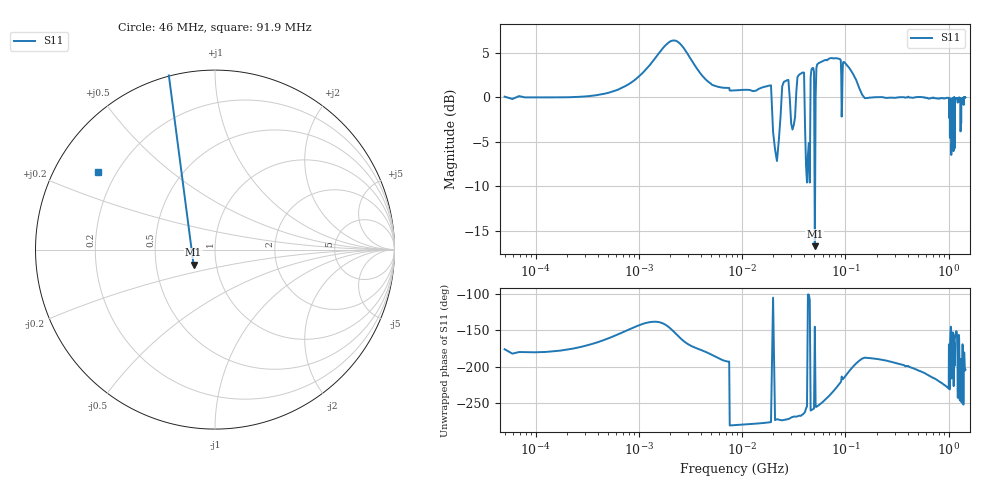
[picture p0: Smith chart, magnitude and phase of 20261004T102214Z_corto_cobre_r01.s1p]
! piloto_corto / corto_cobre / r01
# HZ S RI R 50
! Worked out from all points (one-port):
!   501 points, 50 kHz to 1.45 GHz, reference 50 ohm
!   lowest |S11| = -16.7 dB at 50.5 MHz (marker M1), VSWR 1.34, Z = 38.8 - j6.64 ohm
!   |S11| at or under -10 dB: 50.19 MHz to 50.86 MHz (670 kHz wide, 1.33 % of centre)
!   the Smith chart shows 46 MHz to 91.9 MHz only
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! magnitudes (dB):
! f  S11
! 50 kHz  0.1
! 183 kHz  0.0
! 658 kHz  1.0
! 2.44 MHz  6.1
! 8.56 MHz  0.8
! 17.2 MHz  1.2
! 21.7 MHz  -7.2
! 26.2 MHz  1.8
! 31.6 MHz  -3.1
! 37.9 MHz  2.7
! 43.3 MHz  -6.5
! 47.8 MHz  3.3
! 48.7 MHz  3.3
! 50.5 MHz  -16.7
! 52.3 MHz  3.3
! 53.2 MHz  3.7
! 55 MHz  3.8
! 118 MHz  2.7
! 163 MHz  -0.1
! 406 MHz  0.1
! 991 MHz  -0.1
! 1.018 GHz  -0.9
! 1.04 GHz  -0.1
! 1.063 GHz  -5.4
! 1.085 GHz  -0.5
! 1.157 GHz  -0.1
! 1.31 GHz  -0.1
! 1.45 GHz  0.0
